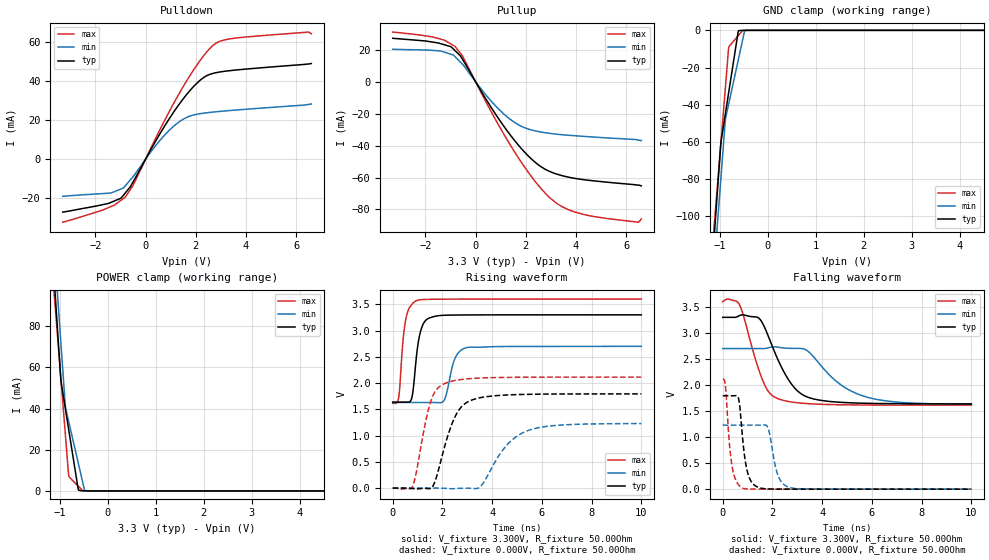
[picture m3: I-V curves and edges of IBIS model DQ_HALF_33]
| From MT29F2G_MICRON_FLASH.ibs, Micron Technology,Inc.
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|   MODEL DQ_HALF_33
[Model]   DQ_HALF_33
Model_type   I/O
Vinl = 660mV
Vinh = 2.640V
Vmeas = 1.650V
Cref = 50.000pF
|   typ   min   max
C_comp   3.35pF   2.89pF   3.89pF
[Model Spec]
| Input threshold voltage corners
Vinl   0.660V   0.540V   0.72V
Vinh   2.640V   2.160V   2.880V
| Measurement voltage corners
Vmeas   1.650V   1.3500V   1.800V
[Voltage Range]   3.300V   2.700V   3.600V
| Junction Temperature (Ambient temp is 25C typ, 70C min, 0C max)
[Temperature Range]   40   85   0
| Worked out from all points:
|   slope of the pulldown table from 0 to 0.495 V, typ, clamps not added: 43.6 ohm
|   slope of the pullup table from 0 to 0.495 V, typ, clamps not added: 38.2 ohm
|   GND clamp passes 1 mA (typ) near -0.62 V on its own axis
|   POWER clamp passes 1 mA (typ) near -0.62 V on its own axis
|   falling waveform, V_fixture 3.300V, R_fixture 50.00Ohm: 20-80 % time 1.04ns typ, 1.59ns min, 769ps max; typ from 3.3 V to 1.64 V
|   rising waveform, V_fixture 3.300V, R_fixture 50.00Ohm: 20-80 % time 265ps typ, 334ps min, 225ps max; typ from 1.64 V to 3.3 V
|   rising waveform, V_fixture 0.000V, R_fixture 50.00Ohm: 20-80 % time 746ps typ, 1.16ns min, 563ps max; typ from 0 V to 1.79 V
|   falling waveform, V_fixture 0.000V, R_fixture 50.00Ohm: 20-80 % time 263ps typ, 321ps min, 228ps max; typ from 1.79 V to 0 V
[Pulldown]
|   Voltage   I(typ)   I(min)   I(max)
-3.3V     -27.22mA   -19.1mA    -32.38mA
-1.48V    -22.75mA   -17.5mA    -24.91mA
-980mV    -20.07mA   -15.34mA   -21.17mA
-810mV    -17.4mA    -13.72mA   -19.48mA
-520mV    -12.21mA   -9.355mA   -13.97mA
400mV     9.247mA    6.938mA    10.72mA
1.14V     24.58mA    17.15mA    29.11mA
2.02V     38.73mA    22.99mA    47.91mA
2.66V     43.94mA    24.15mA    58.14mA
2.97V     44.81mA    24.54mA    60.64mA
3.46V     45.6mA     25.08mA    61.98mA
6.6V      49.13mA    28.35mA    64.41mA
[GND Clamp]
|   Voltage   I(typ)   I(min)   I(max)
-3.3V     -1.02A     -968.1mA   -1.029A
-1.23V    -151.6mA   -164.9mA   -140.3mA
-980mV    -60.64mA   -80.07mA   -60.95mA
-890mV    -45.65mA   -49.52mA   -32.37mA
-880mV    -44mA      -47.18mA   -29.19mA
-820mV    -34.07mA   -40.06mA   -10.14mA
-810mV    -32.42mA   -38.87mA   -8.696mA
-620mV    -982.9uA   -16.33mA   -2.981mA
-610mV    -200.6uA   -15.14mA   -2.68mA
-530mV    -33.52uA   -5.652mA   -273.8uA
-480mV    -12.84uA   -26.58uA   -84.79uA
6.6V      0A         0A         0A
[Pullup]
|   Voltage   I(typ)   I(min)   I(max)
-3.3V     27.2mA     20.36mA    31.09mA
-1.48V    24.27mA    19.36mA    27.04mA
-980mV    21.92mA    17.22mA    23.64mA
-820mV    19.52mA    15.71mA    22.15mA
-520mV    14.06mA    10.92mA    16.08mA
560mV     -14.57mA   -11.05mA   -16.95mA
1.37V     -33.11mA   -23.42mA   -39.26mA
2.34V     -50.02mA   -30.65mA   -61.78mA
3.25V     -57.93mA   -32.9mA    -76.39mA
4.56V     -61.83mA   -34.49mA   -84mA
6.49V     -64.79mA   -36.55mA   -87.97mA
6.6V      -65.22mA   -36.83mA   -85.93mA
[POWER Clamp]
|   Voltage   I(typ)   I(min)   I(max)
-3.3V     985.4mA    938.8mA    1.03A
-1.23V    142.2mA    155.6mA    128.3mA
-980mV    53.86mA    72.37mA    55.06mA
-890mV    40.59mA    42.4mA     28.68mA
-880mV    39.12mA    40.18mA    25.75mA
-820mV    30.34mA    34.11mA    8.16mA
-810mV    28.88mA    33.1mA     6.855mA
-620mV    1.078mA    13.9mA     2.393mA
-610mV    373.6uA    12.89mA    2.158mA
-530mV    75.71uA    4.81mA     279.3uA
-480mV    30.09uA    19.33uA    117.3uA
6.6V      0A         0A         0A
[Ramp]
R_load = 50.00Ohm
|   typ   min   max
dV/dt_r   1.076V/745.175ps 737.537mV/1.153ns   1.268V/562.073ps
dV/dt_f   997.139mV/1.036ns   641.976mV/1.591ns   1.192V/768.666ps
[Falling Waveform]
V_fixture = 3.300V
V_fixture_min = 2.700V
V_fixture_max = 3.600V
R_fixture = 50.00Ohm
|   Time   V(typ)   V(min)   V(max)
0s        3.3V       2.7V       3.6V
660ps     3.331V     2.7V       3.555V
1.46ns    3.281V     2.7V       2.281V
1.8ns     2.978V     2.712V     1.902V
2.21ns    2.499V     2.728V     1.74V
2.93ns    1.923V     2.704V     1.664V
3.66ns    1.732V     2.539V     1.636V
4.64ns    1.671V     2.044V     1.622V
5.62ns    1.651V     1.794V     1.616V
10ns      1.638V     1.63V      1.613V
[Rising Waveform]
V_fixture = 3.300V
V_fixture_min = 2.700V
V_fixture_max = 3.600V
R_fixture = 50.00Ohm
|   Time   V(typ)   V(min)   V(max)
0s        1.638V     1.63V      1.613V
230ps     1.638V     1.63V      1.699V
480ps     1.638V     1.63V      3.083V
740ps     1.679V     1.63V      3.481V
950ps     2.488V     1.63V      3.568V
1.35ns    3.205V     1.63V      3.593V
2.05ns    3.291V     1.661V     3.598V
2.52ns    3.296V     2.485V     3.599V
2.99ns    3.298V     2.676V     3.599V
10ns      3.3V       2.7V       3.6V
[Rising Waveform]
V_fixture = 0.000V
V_fixture_min = 0.000V
V_fixture_max = 0.000V
R_fixture = 50.00Ohm
|   Time   V(typ)   V(min)   V(max)
0s        255.7uV    -13.42uV   -34.81uV
790ps     -7.242mV   -14uV      22.35mV
1.49ns    -12.16mV   -36.22uV   1.589V
1.7ns     126.2mV    22.29uV    1.835V
2.09ns    794.9mV    -3.6mV     1.991V
2.61ns    1.449V     -6.23mV    2.058V
3.35ns    1.702V     -9.708mV   2.092V
4.58ns    1.773V     813.4mV    2.108V
5.35ns    1.785V     1.08V      2.111V
10ns      1.794V     1.229V     2.113V
[Falling Waveform]
V_fixture = 0.000V
V_fixture_min = 0.000V
V_fixture_max = 0.000V
R_fixture = 50.00Ohm
|   Time   V(typ)   V(min)   V(max)
0s        1.794V     1.229V     2.113V
110ps     1.794V     1.229V     1.976V
390ps     1.794V     1.229V     402.6mV
640ps     1.734V     1.229V     82.7mV
790ps     1.03V      1.229V     22.46mV
1.21ns    105.2mV    1.229V     1.851mV
1.79ns    4.957mV    1.206V     693.2uV
2.22ns    1.706mV    269.4mV    397uV
2.71ns    1.001mV    28.54mV    215.6uV
10ns      255.7uV    -13.42uV   -34.81uV
